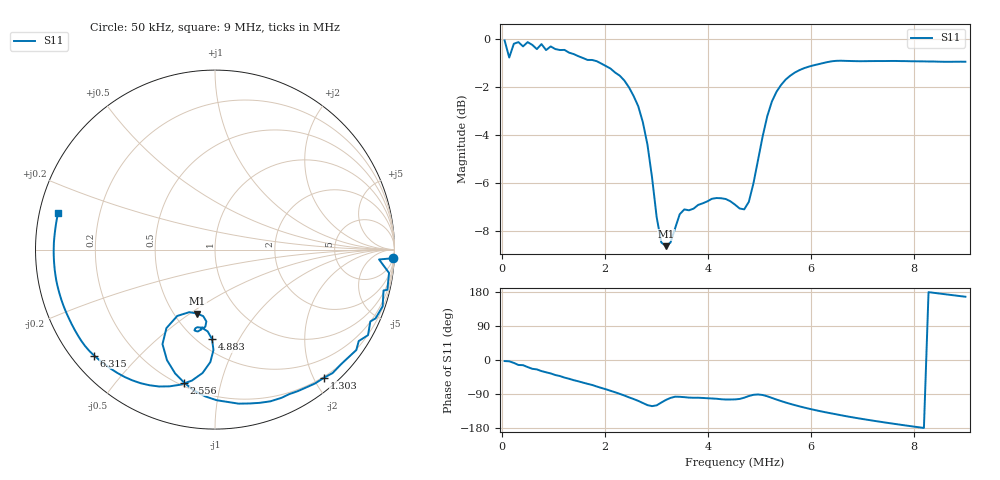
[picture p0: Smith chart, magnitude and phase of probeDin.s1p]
# Hz S RI R 50
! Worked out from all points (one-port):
!   101 points, 50 kHz to 9 MHz, reference 50 ohm
!   lowest |S11| = -8.6 dB at 3.183 MHz (marker M1), VSWR 2.17, Z = 32.4 - j26.7 ohm
!   |S11| at or under -10 dB: nowhere
!   S11 on the Smith chart (normalised r, x): 50 kHz: 5, -41; 1.303 MHz: 0.18, -2.15; 2.556 MHz: 0.22, -0.77; 4.883 MHz: 0.58, -0.78; 6.315 MHz: 0.06, -0.37; 9 MHz: 0.05, +0.11
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50000  0.9929 -0.048
139500  0.9141 -0.055
229000  0.9696 -0.13
318500  0.9604 -0.2239
408000  0.9388 -0.2279
497500  0.9342 -0.3158
945000  0.7873 -0.5596
1213500  0.6549 -0.6881
1303000  0.608 -0.7135
1840000  0.3081 -0.8454
2287500  0.009 -0.8391
2556000  -0.1715 -0.7415
2824500  -0.2926 -0.5268
3003500  -0.2103 -0.3696
3182500  -0.0984 -0.3566
3451000  -0.0534 -0.4279
4525000  -0.1091 -0.4383
4704000  -0.0724 -0.4355
4883000  -0.0161 -0.4999
5062000  -0.0259 -0.6263
5241000  -0.1288 -0.7298
5420000  -0.253 -0.7619
5688500  -0.4152 -0.7441
6315000  -0.6736 -0.5904
6762500  -0.7815 -0.4476
7299500  -0.8566 -0.2778
7926000  -0.8953 -0.0878
9000000  -0.8743 0.2022
